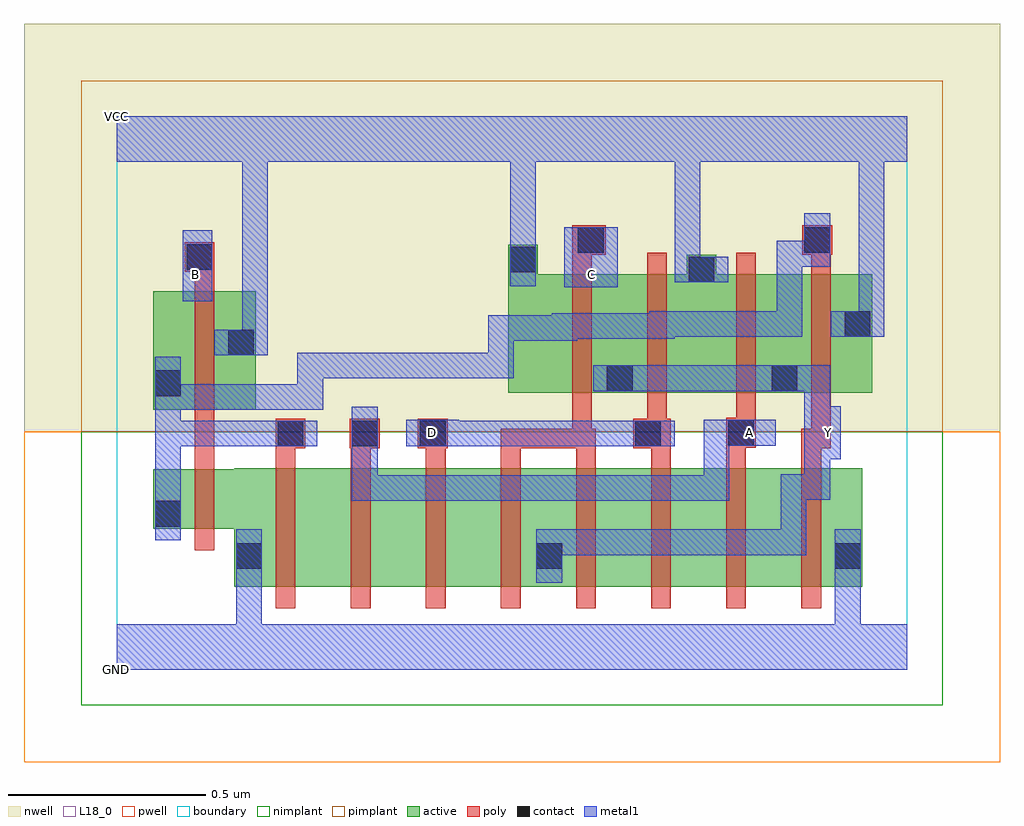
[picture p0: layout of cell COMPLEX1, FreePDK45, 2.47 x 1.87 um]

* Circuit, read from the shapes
.subckt COMPLEX1 A B C D GND VCC Y
M1 GND B n1 VSUBS nfet w=0.15u l=0.05u
M2 n2 n1 GND VSUBS nfet w=0.3u l=0.05u
M3 n3 A n2 VSUBS nfet w=0.3u l=0.05u
M4 n4 D n3 VSUBS nfet w=0.3u l=0.05u
M5 Y C n4 VSUBS nfet w=0.3u l=0.05u
M6 n5 C Y VSUBS nfet w=0.3u l=0.05u
M7 n6 D n5 VSUBS nfet w=0.3u l=0.05u
M8 n7 A n6 VSUBS nfet w=0.3u l=0.05u
M9 GND n1 n7 VSUBS nfet w=0.3u l=0.05u
M10 VCC B n1 n8 pfet w=0.3u l=0.05u
M11 Y C VCC n8 pfet w=0.3u l=0.05u
M12 VCC D Y n8 pfet w=0.3u l=0.05u
M13 Y A VCC n8 pfet w=0.3u l=0.05u
M14 VCC n1 Y n8 pfet w=0.3u l=0.05u
.ends

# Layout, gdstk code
import gdstk
lib = gdstk.Library(unit=1e-6, precision=1e-09)
def R(c, l, rs):  # rectangles x0, y0, x1, y1
    for r in rs: c.add(gdstk.rectangle(r[:2], r[2:], *l))
def A(c, l, x, y, w, h, nx, ny, dx, dy):  # array of equal rectangles
    R(c, l, [(x+i*dx, y+j*dy, x+i*dx+w, y+j*dy+h) for i in range(nx) for j in range(ny)])
active = (1, 0)
pwell = (2, 0)
nwell = (3, 0)
nimplant = (4, 0)
pimplant = (5, 0)
poly = (9, 0)
contact = (10, 0)
metal1 = (11, 0)
L18_0 = (18, 0)
boundary = (235, 0)

complex1 = lib.new_cell('COMPLEX1')
R(complex1, active, [(0.297,0.21,0.522,0.51), (0.522,0.21,0.712,0.51), (0.712,0.21,0.902,0.51), (0.902,0.21,1.132,0.51), (1.057,0.21,1.282,0.51), (1.282,0.21,1.472,0.51), (1.472,0.21,1.662,0.51), (1.662,0.21,1.887,0.51), (1.812,0.21,1.887,0.51), (1.057,0.212,1.132,0.387), (0.297,0.25,0.372,0.507), (0.092,0.357,0.372,0.507), (0.092,0.357,0.167,0.507), (0.092,0.657,0.167,0.957), (0.092,0.657,0.352,0.957), (0.277,0.657,0.352,0.957), (0.99,0.7,1.31,1), (1.235,0.7,1.517,1), (1.235,0.7,1.31,0.777), (1.442,0.7,1.727,1), (1.652,0.7,1.727,0.957), (1.652,0.7,1.912,1), (1.837,0.7,1.912,1), (0.99,0.702,1.065,1.075), (1.442,0.85,1.517,1.05)])
R(complex1, pwell, [(-0.235,-0.235,2.235,0.602)])
R(complex1, nwell, [(-0.235,0.602,2.235,1.635)])
R(complex1, nimplant, [(-0.09,-0.09,2.09,0.602)])
R(complex1, pimplant, [(-0.09,0.602,2.09,1.49)])
A(complex1, poly, 0.402, 0.155, 0.05, 0.41, 8, 1, 0.19, 0)
A(complex1, poly, 0.402, 0.515, 0.05, 0.095, 6, 1, 0.19, 0)
R(complex1, poly, [(0.197,0.302,0.247,0.562), (0.197,0.512,0.247,0.607), (1.542,0.515,1.592,0.612), (1.732,0.515,1.782,0.61), (0.197,0.557,0.247,0.652), (0.197,0.557,0.247,0.607), (0.402,0.56,0.477,0.635), (0.59,0.56,0.665,0.635), (0.762,0.56,0.837,0.635), (0.972,0.56,1.202,0.61), (0.972,0.56,1.022,0.61), (0.972,0.56,1.022,0.61), (0.972,0.56,1.022,0.61), (1.152,0.56,1.202,0.695), (1.152,0.56,1.212,0.61), (1.307,0.56,1.402,0.635), (1.732,0.56,1.807,0.61), (1.757,0.56,1.807,0.695), (1.542,0.562,1.617,0.637), (1.342,0.585,1.392,0.695), (1.567,0.587,1.617,0.695), (0.197,0.602,0.247,1.012), (1.152,0.645,1.202,1.055), (1.342,0.645,1.392,1.055), (1.567,0.645,1.617,1.055), (1.757,0.645,1.807,1.055), (0.197,0.962,0.247,1.057), (1.152,1.005,1.202,1.1), (1.757,1.005,1.807,1.1), (0.172,1.007,0.247,1.082), (1.152,1.05,1.237,1.125), (1.735,1.05,1.81,1.125)])
R(complex1, contact, [(0.302,0.255,0.367,0.32), (1.062,0.255,1.127,0.32), (1.817,0.255,1.882,0.32), (0.097,0.362,0.162,0.427), (0.407,0.565,0.472,0.63), (0.595,0.565,0.66,0.63), (0.767,0.565,0.832,0.63), (1.312,0.565,1.377,0.63), (1.547,0.567,1.612,0.632), (0.097,0.692,0.162,0.757), (1.24,0.705,1.305,0.77), (1.657,0.705,1.722,0.77), (0.282,0.795,0.347,0.86), (1.842,0.842,1.907,0.907), (1.447,0.98,1.512,1.045), (0.995,1.005,1.06,1.07), (0.177,1.012,0.242,1.077), (1.167,1.055,1.232,1.12), (1.74,1.055,1.805,1.12)])
R(complex1, metal1, [(0,0,2,0.115), (0.302,0.05,0.367,0.115), (0.302,0.05,0.367,0.115), (0.302,0.05,0.367,0.285), (1.817,0.05,1.882,0.115), (1.817,0.05,1.882,0.115), (1.817,0.05,1.882,0.285), (0.302,0.22,0.367,0.355), (1.062,0.22,1.127,0.355), (1.817,0.22,1.882,0.355), (1.062,0.29,1.165,0.355), (1.1,0.29,1.165,0.355), (1.1,0.29,1.34,0.355), (1.275,0.29,1.34,0.355), (1.275,0.29,1.34,0.355), (1.275,0.29,1.34,0.355), (1.275,0.29,1.55,0.355), (1.485,0.29,1.55,0.355), (1.485,0.29,1.55,0.355), (1.485,0.29,1.55,0.355), (1.485,0.29,1.745,0.355), (1.68,0.29,1.745,0.355), (1.68,0.29,1.745,0.495), (0.097,0.327,0.162,0.462), (0.097,0.397,0.162,0.63), (0.595,0.427,0.66,0.492), (0.595,0.427,0.66,0.595), (0.595,0.427,0.867,0.492), (0.802,0.427,0.867,0.492), (0.802,0.427,0.867,0.492), (0.802,0.427,0.867,0.492), (0.802,0.427,1.027,0.492), (0.962,0.427,1.027,0.492), (0.962,0.427,1.027,0.492), (0.962,0.427,1.027,0.492), (0.962,0.427,1.165,0.492), (1.1,0.427,1.165,0.492), (1.1,0.427,1.34,0.492), (1.275,0.427,1.34,0.492), (1.275,0.427,1.34,0.492), (1.275,0.427,1.34,0.492), (1.275,0.427,1.55,0.492), (1.485,0.427,1.55,0.492), (1.485,0.427,1.55,0.632), (1.68,0.43,1.805,0.495), (1.74,0.43,1.805,0.597), (0.595,0.53,0.66,0.595), (0.595,0.53,0.66,0.595), (0.595,0.53,0.66,0.665), (1.74,0.532,1.832,0.667), (0.097,0.565,0.162,0.63), (0.097,0.565,0.162,0.63), (0.097,0.565,0.162,0.63), (0.097,0.565,0.385,0.63), (0.097,0.565,0.162,0.722), (0.32,0.565,0.385,0.63), (0.32,0.565,0.437,0.63), (0.372,0.565,0.507,0.63), (0.732,0.565,0.867,0.632), (0.802,0.565,0.867,0.63), (0.802,0.565,0.867,0.63), (0.802,0.565,1.005,0.63), (0.94,0.565,1.005,0.63), (0.94,0.565,1.005,0.63), (0.94,0.565,1.005,0.63), (0.94,0.565,1.165,0.63), (1.1,0.565,1.165,0.63), (1.1,0.565,1.34,0.63), (1.275,0.565,1.34,0.63), (1.275,0.565,1.342,0.63), (1.277,0.565,1.412,0.63), (1.485,0.567,1.55,0.632), (1.485,0.567,1.577,0.632), (1.512,0.567,1.667,0.632), (1.74,0.602,1.805,0.77), (0.097,0.657,0.162,0.722), (0.097,0.657,0.162,0.722), (0.097,0.657,0.162,0.792), (0.097,0.657,0.385,0.722), (0.32,0.657,0.385,0.722), (0.32,0.657,0.522,0.722), (0.457,0.657,0.522,0.722), (0.457,0.657,0.522,0.722), (0.457,0.657,0.522,0.802), (1.205,0.705,1.34,0.77), (1.275,0.705,1.34,0.77), (1.275,0.705,1.34,0.77), (1.275,0.705,1.55,0.77), (1.485,0.705,1.55,0.77), (1.485,0.705,1.55,0.77), (1.485,0.705,1.55,0.77), (1.485,0.705,1.687,0.77), (1.622,0.705,1.805,0.77), (0.457,0.737,0.66,0.802), (0.595,0.737,0.66,0.802), (0.595,0.737,0.66,0.802), (0.595,0.737,0.66,0.802), (0.595,0.737,0.867,0.802), (0.802,0.737,0.867,0.802), (0.802,0.737,0.867,0.802), (0.802,0.737,0.867,0.802), (0.802,0.737,1.005,0.802), (0.94,0.737,1.005,0.802), (0.94,0.737,1.005,0.802), (0.94,0.737,1.005,0.802), (0.94,0.737,1.005,0.897), (0.247,0.795,0.382,0.86), (0.317,0.795,0.382,1.35), (0.94,0.832,1.005,0.897), (0.94,0.832,1.165,0.897), (1.1,0.832,1.165,0.902), (1.1,0.837,1.27,0.902), (1.205,0.837,1.27,0.902), (1.205,0.837,1.412,0.902), (1.347,0.837,1.412,0.907), (1.347,0.842,1.55,0.907), (1.485,0.842,1.55,0.907), (1.485,0.842,1.55,0.907), (1.485,0.842,1.55,0.907), (1.485,0.842,1.735,0.907), (1.67,0.842,1.735,0.907), (1.67,0.842,1.735,0.907), (1.67,0.842,1.735,0.907), (1.67,0.842,1.735,1.085), (1.807,0.842,1.942,0.907), (1.877,0.842,1.942,0.907), (1.877,0.842,1.942,0.907), (1.877,0.842,1.942,0.907), (1.877,0.842,1.942,0.907), (1.877,0.842,1.942,1.35), (0.167,0.932,0.242,1.112), (1.132,0.967,1.267,1.12), (0.995,0.97,1.06,1.105), (1.412,0.98,1.547,1.045), (1.412,0.98,1.477,1.35), (1.67,1.02,1.735,1.085), (1.67,1.02,1.805,1.085), (1.74,1.02,1.805,1.155), (0.995,1.04,1.06,1.35), (0,1.285,2,1.4), (0.317,1.285,0.382,1.35), (0.317,1.285,0.382,1.35), (0.317,1.285,0.382,1.35), (0.317,1.285,0.382,1.35), (0.995,1.285,1.06,1.35), (0.995,1.285,1.06,1.35), (0.995,1.285,1.06,1.35), (0.995,1.285,1.06,1.35), (1.412,1.285,1.477,1.35), (1.412,1.285,1.477,1.35), (1.412,1.285,1.477,1.35), (1.412,1.285,1.477,1.35)])
R(complex1, L18_0, [(0,0,2,0.115), (0.302,0.05,0.367,0.115), (0.302,0.05,0.367,0.115), (0.302,0.05,0.367,0.285), (1.817,0.05,1.882,0.115), (1.817,0.05,1.882,0.115), (1.817,0.05,1.882,0.285), (0.302,0.22,0.367,0.355), (1.062,0.22,1.127,0.355), (1.817,0.22,1.882,0.355), (1.062,0.29,1.165,0.355), (1.1,0.29,1.165,0.355), (1.1,0.29,1.34,0.355), (1.275,0.29,1.34,0.355), (1.275,0.29,1.34,0.355), (1.275,0.29,1.34,0.355), (1.275,0.29,1.55,0.355), (1.485,0.29,1.55,0.355), (1.485,0.29,1.55,0.355), (1.485,0.29,1.55,0.355), (1.485,0.29,1.745,0.355), (1.68,0.29,1.745,0.355), (1.68,0.29,1.745,0.495), (0.595,0.427,0.66,0.492), (0.595,0.427,0.66,0.595), (0.595,0.427,0.867,0.492), (0.802,0.427,0.867,0.492), (0.802,0.427,0.867,0.492), (0.802,0.427,0.867,0.492), (0.802,0.427,1.027,0.492), (0.962,0.427,1.027,0.492), (0.962,0.427,1.027,0.492), (0.962,0.427,1.027,0.492), (0.962,0.427,1.165,0.492), (1.1,0.427,1.165,0.492), (1.1,0.427,1.34,0.492), (1.275,0.427,1.34,0.492), (1.275,0.427,1.34,0.492), (1.275,0.427,1.34,0.492), (1.275,0.427,1.55,0.492), (1.485,0.427,1.55,0.492), (1.485,0.427,1.55,0.632), (1.68,0.43,1.805,0.495), (1.74,0.43,1.805,0.597), (0.595,0.53,0.66,0.595), (0.595,0.53,0.66,0.595), (0.595,0.53,0.66,0.665), (1.74,0.532,1.832,0.667), (0.732,0.565,0.867,0.632), (0.802,0.565,0.867,0.63), (0.802,0.565,0.867,0.63), (0.802,0.565,1.005,0.63), (0.94,0.565,1.005,0.63), (0.94,0.565,1.005,0.63), (0.94,0.565,1.005,0.63), (0.94,0.565,1.165,0.63), (1.1,0.565,1.165,0.63), (1.1,0.565,1.34,0.63), (1.275,0.565,1.34,0.63), (1.275,0.565,1.342,0.63), (1.277,0.565,1.412,0.63), (0.767,0.567,0.832,0.632), (1.485,0.567,1.55,0.632), (1.485,0.567,1.577,0.632), (1.512,0.567,1.667,0.632), (1.567,0.567,1.632,0.632), (1.767,0.567,1.832,0.632), (1.74,0.602,1.805,0.77), (1.205,0.705,1.34,0.77), (1.275,0.705,1.34,0.77), (1.275,0.705,1.34,0.77), (1.275,0.705,1.55,0.77), (1.485,0.705,1.55,0.77), (1.485,0.705,1.55,0.77), (1.485,0.705,1.55,0.77), (1.485,0.705,1.687,0.77), (1.622,0.705,1.805,0.77), (0.247,0.795,0.382,0.86), (0.317,0.795,0.382,1.35), (1.807,0.842,1.942,0.907), (1.877,0.842,1.942,0.907), (1.877,0.842,1.942,0.907), (1.877,0.842,1.942,0.907), (1.877,0.842,1.942,0.907), (1.877,0.842,1.942,1.35), (0.167,0.932,0.242,1.112), (0.167,0.967,0.232,1.032), (1.132,0.967,1.267,1.12), (1.167,0.967,1.232,1.032), (0.995,0.97,1.06,1.105), (1.412,0.98,1.547,1.045), (1.412,0.98,1.477,1.35), (0.995,1.04,1.06,1.35), (0,1.285,2,1.4), (0.317,1.285,0.382,1.35), (0.317,1.285,0.382,1.35), (0.317,1.285,0.382,1.35), (0.317,1.285,0.382,1.35), (0.995,1.285,1.06,1.35), (0.995,1.285,1.06,1.35), (0.995,1.285,1.06,1.35), (0.995,1.285,1.06,1.35), (1.412,1.285,1.477,1.35), (1.412,1.285,1.477,1.35), (1.412,1.285,1.477,1.35), (1.412,1.285,1.477,1.35)])
R(complex1, boundary, [(0,0,2,1.4)])
complex1.add(gdstk.Label('A', (1.6,0.6), layer=11, texttype=0))
complex1.add(gdstk.Label('B', (0.2,1), layer=11, texttype=0))
complex1.add(gdstk.Label('C', (1.2,1), layer=11, texttype=0))
complex1.add(gdstk.Label('D', (0.8,0.6), layer=11, texttype=0))
complex1.add(gdstk.Label('Y', (1.8,0.6), layer=11, texttype=0))
complex1.add(gdstk.Label('VCC', (0,1.4), layer=11, texttype=0))
complex1.add(gdstk.Label('GND', (0,0), layer=11, texttype=0))

lib.write_gds('COMPLEX1.gds')
